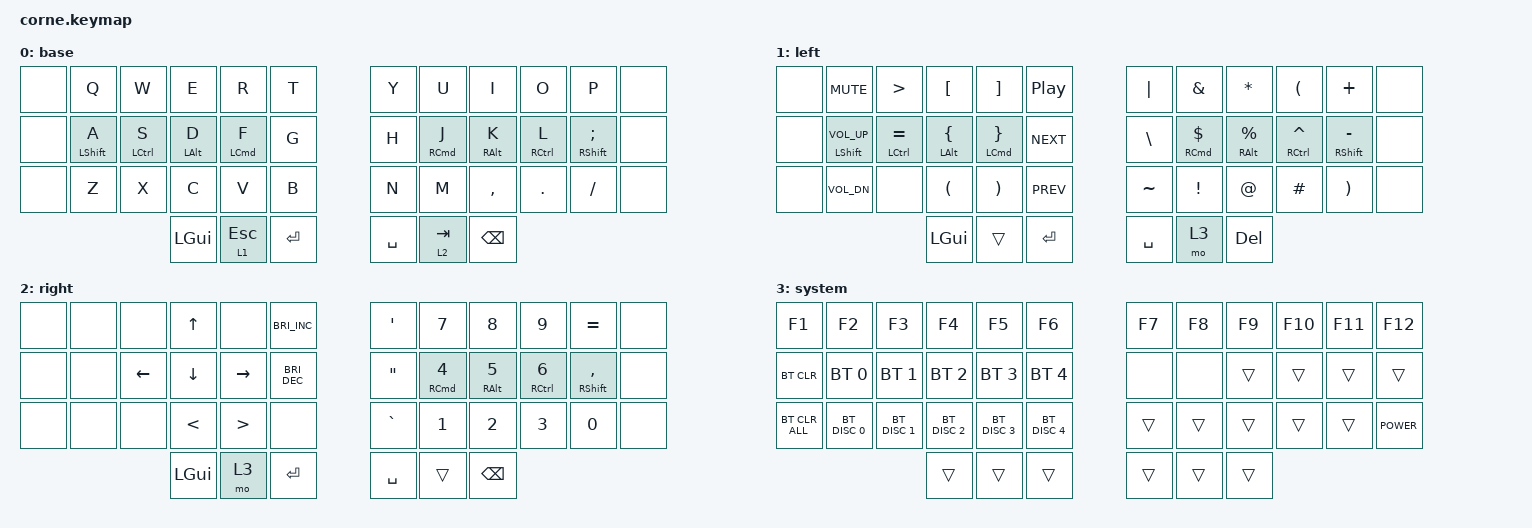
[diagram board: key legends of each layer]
/*
 * Copyright (c) 2020 The ZMK Contributors
 *
 * SPDX-License-Identifier: MIT
 */

#include <behaviors.dtsi>
#include <dt-bindings/zmk/bt.h>
#include <dt-bindings/zmk/keys.h>

/ {
    behaviors {
        hml: homewrow_mods_left {
            compatible = "zmk,behavior-hold-tap";
            label = "HOMEROW_MODS_LEFT_HAND";
            bindings = <&kp>, <&kp>;

            #binding-cells = <2>;
            tapping-term-ms = <200>;
            hold-trigger-key-positions = <6 7 8 9 10 11 18 19 20 21 22 23 30 31 32 33 34 35 39 40 41>;
            require-prior-idle-ms = <100>;
            flavor = "hold-preferred";
        };

        hmr: homewrow_mods_right {
            compatible = "zmk,behavior-hold-tap";
            label = "HOMEROW_MODS_RIGHT_HAND";
            bindings = <&kp>, <&kp>;

            #binding-cells = <2>;
            tapping-term-ms = <200>;
            hold-trigger-key-positions = <0 1 2 3 4 5 12 13 14 15 16 17 24 25 26 27 28 29 36 37 38>;
            require-prior-idle-ms = <100>;
            flavor = "hold-preferred";
        };

        Thumbs_layer: Thumbs_layer {
            compatible = "zmk,behavior-hold-tap";
            label = "THUMBS_LAYER";
            bindings = <&mo>, <&kp>;

            #binding-cells = <2>;
            tapping-term-ms = <100>;
            hold-trigger-key-positions = <37 40 36 38 39 41>;
            require-prior-idle-ms = <50>;
        };
    };

    keymap {
        compatible = "zmk,keymap";

        base {
            bindings = <
&none  &kp Q              &kp W                &kp E            &kp R                &kp T        &kp Y      &kp U                 &kp I        &kp O         &kp P            &none
&none  &hml LEFT_SHIFT A  &hml LEFT_CONTROL S  &hml LEFT_ALT D  &hml LEFT_COMMAND F  &kp G        &kp H      &hmr RIGHT_COMMAND J  &hmr RALT K  &hmr RCTRL L  &hmr RSHFT SEMI  &none
&none  &kp Z              &kp X                &kp C            &kp V                &kp B        &kp N      &kp M                 &kp COMMA    &kp DOT       &kp FSLH         &none
                                               &kp LGUI         &Thumbs_layer 1 ESC  &kp ENTER    &kp SPACE  &Thumbs_layer 2 TAB   &kp BSPC
            >;
        };

        left {
            bindings = <
&none  &kp K_MUTE                   &kp GREATER_THAN         &kp LEFT_BRACKET          &kp RIGHT_BRACKET              &kp C_PLAY_PAUSE    &kp PIPE       &kp AMPERSAND              &kp ASTERISK            &kp LEFT_PARENTHESIS      &kp PLUS                &none
&none  &hml LEFT_SHIFT C_VOLUME_UP  &hml LEFT_CONTROL EQUAL  &hml LEFT_ALT LEFT_BRACE  &hml LEFT_COMMAND RIGHT_BRACE  &kp C_NEXT          &kp BACKSLASH  &hmr RIGHT_COMMAND DOLLAR  &hmr RIGHT_ALT PERCENT  &hmr RIGHT_CONTROL CARET  &hmr RIGHT_SHIFT MINUS  &none
&none  &kp C_VOL_DN                 &none                    &kp LEFT_PARENTHESIS      &kp RIGHT_PARENTHESIS          &kp C_PREV          &kp TILDE      &kp EXCLAMATION            &kp AT_SIGN             &kp POUND                 &kp RIGHT_PARENTHESIS   &none
                                                             &kp LGUI                  &trans                         &kp ENTER           &kp SPACE      &mo 3                      &kp DEL
            >;
        };

        right {
            bindings = <
&none  &none  &none     &kp UP_ARROW   &none             &kp C_BRIGHTNESS_INC    &kp SINGLE_QUOTE   &kp N7                 &kp N8             &kp N9                 &kp EQUAL               &none
&none  &none  &kp LEFT  &kp DOWN       &kp RIGHT         &kp C_BRIGHTNESS_DEC    &kp DOUBLE_QUOTES  &hmr RIGHT_COMMAND N4  &hmr RIGHT_ALT N5  &hmr RIGHT_CONTROL N6  &hmr RIGHT_SHIFT COMMA  &none
&none  &none  &none     &kp LESS_THAN  &kp GREATER_THAN  &none                   &kp GRAVE          &kp N1                 &kp N2             &kp N3                 &kp N0                  &none
                        &kp LGUI       &mo 3             &kp ENTER               &kp SPACE          &trans                 &kp BSPC
            >;
        };

        system {
            bindings = <
&kp F1          &kp F2         &kp F3         &kp F4         &kp F5         &kp F6           &kp F7  &kp F8  &kp F9  &kp F10  &kp F11  &kp F12
&bt BT_CLR      &bt BT_SEL 0   &bt BT_SEL 1   &bt BT_SEL 2   &bt BT_SEL 3   &bt BT_SEL 4     &none   &none   &trans  &trans   &trans   &trans
&bt BT_CLR_ALL  &bt BT_DISC 0  &bt BT_DISC 1  &bt BT_DISC 2  &bt BT_DISC 3  &bt BT_DISC 4    &trans  &trans  &trans  &trans   &trans   &kp C_POWER
                                              &trans         &trans         &trans           &trans  &trans  &trans
            >;
        };
    };

    conditional_layers { compatible = "zmk,conditional-layers"; };
};
